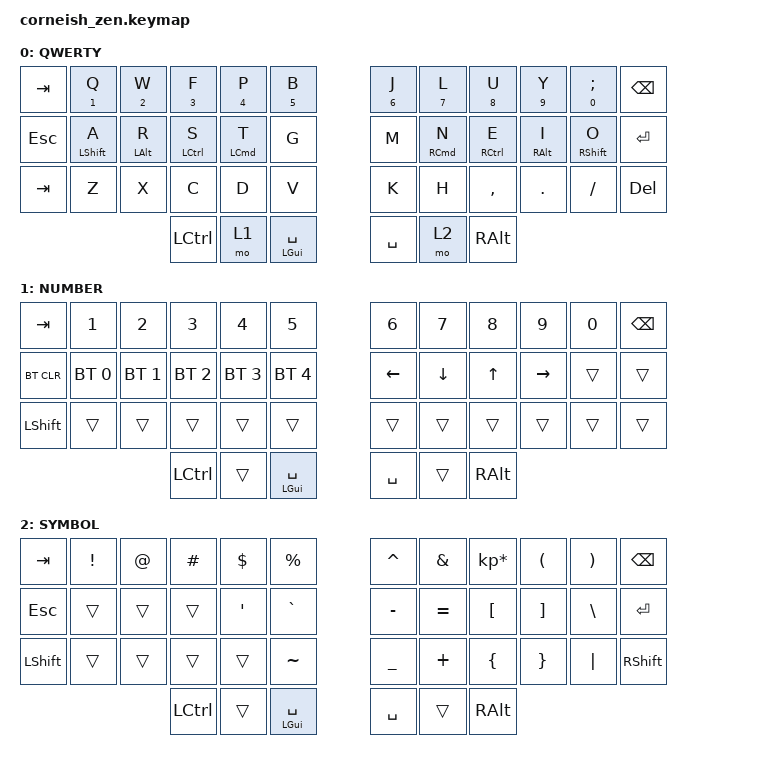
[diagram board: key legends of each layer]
#include <behaviors.dtsi>
#include <dt-bindings/zmk/keys.h>
#include <dt-bindings/zmk/bt.h>

/ {
  chosen {
    zmk,matrix_transform = &default_transform;
    //zmk,matrix_transform = &five_column_transform;
  };
};

/ {
        behaviors {
            hm: homerow_mods {
                compatible = "zmk,behavior-hold-tap";
                label = "HOMEROW_MODS";
                #binding-cells = <2>;
                tapping-term-ms = <200>;
                quick_tap_ms = <0>;
                flavor = "tap-preferred";
                bindings = <&kp>, <&kp>;
            };
            bl: layertap {
                compatible = "zmk,behavior-hold-tap";
                label = "LAYERTAP";
                #binding-cells = <2>;
                tapping-term-ms = <150>;
                quick_tap_ms = <0>;
                flavor = "tap-preferred";
                bindings = <&lt>, <&kp>;
            };
        };
        keymap {
                compatible = "zmk,keymap";

                default_layer {
                        label = "QWERTY";
                        bindings = <
   &kp TAB    &mt N1 Q     &mt N2 W         &mt N3 F     &mt N4 P         &mt N5 B      &mt N6 J   &mt N7 L         &mt N8 U     &mt N9 Y      &mt N0 SEMI    &kp BSPC
   &kp ESC    &hm LSHFT A  &hm LALT R       &hm LCTRL S  &hm LCMD T       &kp G         &kp M      &hm RCMD N       &hm RCTRL E  &hm RALT I    &hm RSHFT O    &kp ENTER
   &kp TAB    &kp Z        &kp X            &kp C        &kp D            &kp V         &kp K      &kp H            &kp COMMA    &kp DOT       &kp FSLH       &kp DEL

                  &kp LCTRL &mo 1 &mt LGUI SPACE   &kp SPACE &mo 2 &kp RALT
                        >;
                };
                lower_layer {
                        label = "NUMBER";
                        bindings = <
   &kp TAB    &kp N1       &kp N2       &kp N3       &kp N4       &kp N5         &kp N6   &kp N7   &kp N8 &kp N9    &kp N0 &kp BSPC
   &bt BT_CLR &bt BT_SEL 0 &bt BT_SEL 1 &bt BT_SEL 2 &bt BT_SEL 3 &bt BT_SEL 4   &kp LEFT &kp DOWN &kp UP &kp RIGHT &trans &trans
   &kp LSHFT  &trans       &trans       &trans       &trans       &trans         &trans   &trans   &trans &trans    &trans &trans
                          	        &kp LCTRL     &trans       &mt LGUI SPACE     &kp SPACE  &trans   &kp RALT
                        >;
                };
                raise_layer {
                        label = "SYMBOL";
                        bindings = <
   &kp  TAB  &kp EXCL &kp AT &kp HASH &kp DLLR &kp PRCNT   &kp CARET &kp AMPS  &kp KP_MULTIPLY &kp LPAR &kp RPAR &kp BSPC
   &kp ESC   &trans   &trans &trans   &kp SQT  &kp GRAVE      &kp MINUS &kp EQUAL &kp LBKT        &kp RBKT &kp BSLH &kp RET
   &kp LSHFT &trans   &trans &trans   &trans   &kp TILDE      &kp UNDER &kp PLUS  &kp LBRC        &kp RBRC &kp PIPE &kp RSHFT
                    	     &kp LCTRL &trans   &mt LGUI SPACE   &kp SPACE   &trans    &kp RALT
                        >;
                };
        };
};
